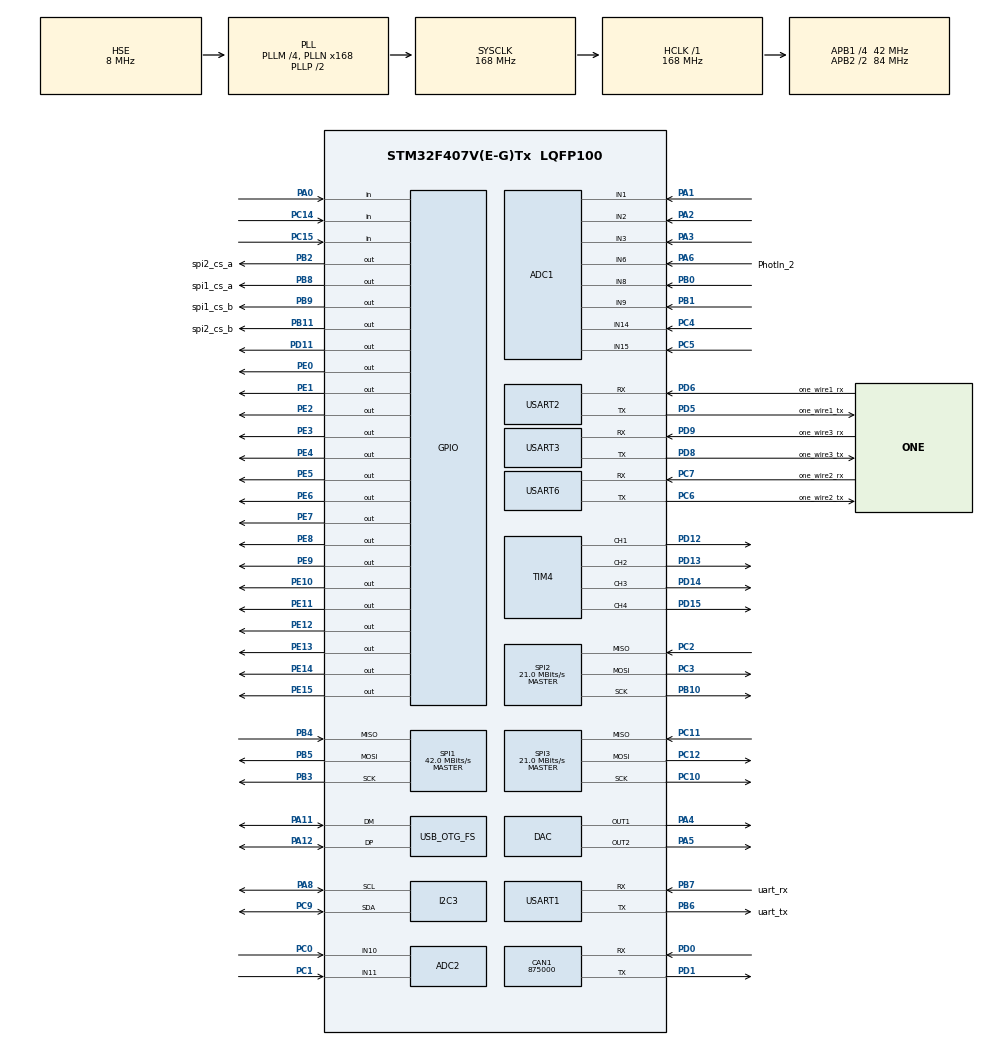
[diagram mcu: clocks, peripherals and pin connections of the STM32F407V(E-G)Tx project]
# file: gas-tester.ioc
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ADC1.Channel-0\#ChannelRegularConversion=ADC_CHANNEL_3
ADC1.Channel-1\#ChannelRegularConversion=ADC_CHANNEL_6
ADC1.Channel-2\#ChannelRegularConversion=ADC_CHANNEL_TEMPSENSOR
ADC1.Channel-3\#ChannelRegularConversion=ADC_CHANNEL_VREFINT
ADC1.Channel-4\#ChannelRegularConversion=ADC_CHANNEL_VBAT
ADC1.ContinuousConvMode=ENABLE
ADC1.DMAContinuousRequests=DISABLE
ADC1.InjNumberOfConversion=0
ADC1.NbrOfConversion=5
ADC1.NbrOfConversionFlag=1
ADC1.Rank-0\#ChannelRegularConversion=1
ADC1.Rank-1\#ChannelRegularConversion=2
ADC1.Rank-2\#ChannelRegularConversion=3
ADC1.Rank-3\#ChannelRegularConversion=4
ADC1.Rank-4\#ChannelRegularConversion=5
ADC1.SamplingTime-0\#ChannelRegularConversion=ADC_SAMPLETIME_480CYCLES
ADC1.SamplingTime-1\#ChannelRegularConversion=ADC_SAMPLETIME_480CYCLES
ADC1.SamplingTime-2\#ChannelRegularConversion=ADC_SAMPLETIME_480CYCLES
ADC1.SamplingTime-3\#ChannelRegularConversion=ADC_SAMPLETIME_480CYCLES
ADC1.SamplingTime-4\#ChannelRegularConversion=ADC_SAMPLETIME_480CYCLES
ADC1.ScanConvMode=ENABLE
ADC1.master=1
ADC2.Channel-1\#ChannelRegularConversion=ADC_CHANNEL_10
ADC2.Channel-2\#ChannelRegularConversion=ADC_CHANNEL_11
ADC2.ClockPrescaler=ADC_CLOCK_SYNC_PCLK_DIV4
ADC2.ContinuousConvMode=DISABLE
ADC2.DMAContinuousRequests=ENABLE
ADC2.EOCSelection=ADC_EOC_SEQ_CONV
ADC2.ExternalTrigConv=ADC_EXTERNALTRIGCONV_T8_TRGO
ADC2.NbrOfConversion=2
ADC2.NbrOfConversionFlag=1
ADC2.Rank-1\#ChannelRegularConversion=1
ADC2.Rank-2\#ChannelRegularConversion=2
ADC2.SamplingTime-1\#ChannelRegularConversion=ADC_SAMPLETIME_3CYCLES
ADC2.SamplingTime-2\#ChannelRegularConversion=ADC_SAMPLETIME_3CYCLES
ADC2.ScanConvMode=ENABLE
ARM.CMSIS-DSP.1.17.0.CMSISJjDSP=Source
CAN1.CalculateBaudRate=875000
CAN1.CalculateTimeBit=1142
CAN1.CalculateTimeQuantum=380.95238095238096
DAC.DAC_Trigger=DAC_TRIGGER_T8_TRGO
Dma.ADC2.1.Direction=DMA_PERIPH_TO_MEMORY
Dma.ADC2.1.FIFOMode=DMA_FIFOMODE_DISABLE
Dma.ADC2.1.Instance=DMA2_Stream2
Dma.ADC2.1.MemDataAlignment=DMA_MDATAALIGN_HALFWORD
Dma.ADC2.1.MemInc=DMA_MINC_ENABLE
Dma.ADC2.1.Mode=DMA_CIRCULAR
Dma.ADC2.1.PeriphDataAlignment=DMA_PDATAALIGN_HALFWORD
Dma.ADC2.1.PeriphInc=DMA_PINC_DISABLE
Dma.ADC2.1.Priority=DMA_PRIORITY_LOW
Dma.DAC1.0.Direction=DMA_MEMORY_TO_PERIPH
Dma.DAC1.0.FIFOMode=DMA_FIFOMODE_DISABLE
Dma.DAC1.0.Instance=DMA1_Stream5
Dma.DAC1.0.MemDataAlignment=DMA_MDATAALIGN_HALFWORD
Dma.DAC1.0.MemInc=DMA_MINC_ENABLE
Dma.DAC1.0.Mode=DMA_CIRCULAR
Dma.DAC1.0.PeriphDataAlignment=DMA_PDATAALIGN_HALFWORD
Dma.DAC1.0.PeriphInc=DMA_PINC_DISABLE
Dma.DAC1.0.Priority=DMA_PRIORITY_LOW
Dma.Request0=DAC1
Dma.Request1=ADC2
Dma.Request2=TIM8_CH4/TRIG/COM
Dma.TIM8_CH4/TRIG/COM.2.Direction=DMA_PERIPH_TO_MEMORY
Dma.TIM8_CH4/TRIG/COM.2.FIFOMode=DMA_FIFOMODE_DISABLE
Dma.TIM8_CH4/TRIG/COM.2.Instance=DMA2_Stream7
Dma.TIM8_CH4/TRIG/COM.2.MemDataAlignment=DMA_MDATAALIGN_HALFWORD
Dma.TIM8_CH4/TRIG/COM.2.MemInc=DMA_MINC_ENABLE
Dma.TIM8_CH4/TRIG/COM.2.Mode=DMA_NORMAL
Dma.TIM8_CH4/TRIG/COM.2.PeriphDataAlignment=DMA_PDATAALIGN_HALFWORD
Dma.TIM8_CH4/TRIG/COM.2.PeriphInc=DMA_PINC_DISABLE
Dma.TIM8_CH4/TRIG/COM.2.Priority=DMA_PRIORITY_LOW
Mcu.Family=STM32F4
Mcu.Name=STM32F407V(E-G)Tx
Mcu.Package=LQFP100
NVIC.DMA1_Stream5_IRQn=true\:0\:0\:false\:false\:true\:false\:true\:true
NVIC.DMA2_Stream2_IRQn=true\:0\:0\:false\:false\:true\:false\:true\:true
NVIC.DMA2_Stream7_IRQn=true\:0\:0\:false\:false\:true\:false\:true\:true
NVIC.OTG_FS_IRQn=true\:0\:0\:false\:false\:true\:true\:true\:true
NVIC.PriorityGroup=NVIC_PRIORITYGROUP_4
NVIC.TIM8_UP_TIM13_IRQn=true\:0\:0\:false\:false\:true\:true\:true\:true
PA0-WKUP.Signal=GPIO_Input
PA1.Signal=ADCx_IN1
PA11.Mode=Device_Only
PA11.Signal=USB_OTG_FS_DM
PA12.Mode=Device_Only
PA12.Signal=USB_OTG_FS_DP
PA13.Mode=Serial_Wire
PA13.Signal=SYS_JTMS-SWDIO
PA14.Mode=Serial_Wire
PA14.Signal=SYS_JTCK-SWCLK
PA2.Signal=ADCx_IN2
PA3.Signal=ADCx_IN3
PA4.Signal=COMP_DAC1_group
PA5.Signal=COMP_DAC2_group
PA6.GPIO_Label=PhotIn_2
PA6.Signal=ADCx_IN6
PA8.Mode=I2C
PA8.Signal=I2C3_SCL
PB0.Signal=ADCx_IN8
PB1.Signal=ADCx_IN9
PB10.Mode=Full_Duplex_Master
PB10.Signal=SPI2_SCK
PB11.GPIO_Label=spi2_cs_b
PB11.Signal=GPIO_Output
PB2.GPIO_Label=spi2_cs_a
PB2.Signal=GPIO_Output
PB3.Mode=Full_Duplex_Master
PB3.Signal=SPI1_SCK
PB4.Mode=Full_Duplex_Master
PB4.Signal=SPI1_MISO
PB5.Mode=Full_Duplex_Master
PB5.Signal=SPI1_MOSI
PB6.GPIO_Label=uart_tx
PB6.Mode=Asynchronous
PB6.Signal=USART1_TX
PB7.GPIO_Label=uart_rx
PB7.Mode=Asynchronous
PB7.Signal=USART1_RX
PB8.GPIO_Label=spi1_cs_a
PB8.Signal=GPIO_Output
PB9.GPIO_Label=spi1_cs_b
PB9.Signal=GPIO_Output
PC0.Signal=ADCx_IN10
PC1.Signal=ADCx_IN11
PC10.Mode=Full_Duplex_Master
PC10.Signal=SPI3_SCK
PC11.Mode=Full_Duplex_Master
PC11.Signal=SPI3_MISO
PC12.Mode=Full_Duplex_Master
PC12.Signal=SPI3_MOSI
PC14-OSC32_IN.Signal=GPIO_Input
PC15-OSC32_OUT.Signal=GPIO_Input
PC2.Mode=Full_Duplex_Master
PC2.Signal=SPI2_MISO
PC3.Mode=Full_Duplex_Master
PC3.Signal=SPI2_MOSI
PC4.Signal=ADCx_IN14
PC5.Signal=ADCx_IN15
PC6.GPIO_Label=one_wire2_tx
PC6.Mode=Asynchronous
PC6.Signal=USART6_TX
PC7.GPIO_Label=one_wire2_rx
PC7.Mode=Asynchronous
PC7.Signal=USART6_RX
PC9.Mode=I2C
PC9.Signal=I2C3_SDA
PD0.Mode=CAN_Activate
PD0.Signal=CAN1_RX
PD1.Mode=CAN_Activate
PD1.Signal=CAN1_TX
PD11.Signal=GPIO_Output
PD12.Signal=S_TIM4_CH1
PD13.Signal=S_TIM4_CH2
PD14.Signal=S_TIM4_CH3
PD15.Signal=S_TIM4_CH4
PD5.GPIO_Label=one_wire1_tx
PD5.Mode=Asynchronous
PD5.Signal=USART2_TX
PD6.GPIO_Label=one_wire1_rx
PD6.Mode=Asynchronous
PD6.Signal=USART2_RX
PD8.GPIO_Label=one_wire3_tx
PD8.Mode=Asynchronous
PD8.Signal=USART3_TX
PD9.GPIO_Label=one_wire3_rx
PD9.Mode=Asynchronous
PD9.Signal=USART3_RX
PE0.Signal=GPIO_Output
PE1.Signal=GPIO_Output
PE10.Signal=GPIO_Output
PE11.Signal=GPIO_Output
PE12.Signal=GPIO_Output
PE13.Signal=GPIO_Output
PE14.Signal=GPIO_Output
PE15.Signal=GPIO_Output
PE2.Signal=GPIO_Output
PE3.Signal=GPIO_Output
PE4.Signal=GPIO_Output
PE5.Signal=GPIO_Output
PE6.Signal=GPIO_Output
PE7.Signal=GPIO_Output
PE8.Signal=GPIO_Output
PE9.Signal=GPIO_Output
PH0-OSC_IN.Mode=HSE-External-Oscillator
PH0-OSC_IN.Signal=RCC_OSC_IN
PH1-OSC_OUT.Mode=HSE-External-Oscillator
PH1-OSC_OUT.Signal=RCC_OSC_OUT
ProjectManager.HeapSize=0x1000
ProjectManager.StackSize=0x2000
ProjectManager.TargetToolchain=STM32CubeIDE
RCC.48MHZClocksFreq_Value=48000000
RCC.AHBFreq_Value=168000000
RCC.APB1CLKDivider=RCC_HCLK_DIV4
RCC.APB1Freq_Value=42000000
RCC.APB1TimFreq_Value=84000000
RCC.APB2CLKDivider=RCC_HCLK_DIV2
RCC.APB2Freq_Value=84000000
RCC.APB2TimFreq_Value=168000000
RCC.CortexFreq_Value=168000000
RCC.HCLKFreq_Value=168000000
RCC.HSE_VALUE=8000000
RCC.HSI_VALUE=16000000
RCC.LSE_VALUE=32768
RCC.PLLM=4
RCC.PLLN=168
RCC.PLLQ=7
RCC.SYSCLKFreq_VALUE=168000000
RCC.SYSCLKSource=RCC_SYSCLKSOURCE_PLLCLK
RCC.VCOOutputFreq_Value=336000000
SH.ADCx_IN1.0=ADC1_IN1,IN1
SH.ADCx_IN10.0=ADC2_IN10,IN10
SH.ADCx_IN11.0=ADC2_IN11,IN11
SH.ADCx_IN14.0=ADC1_IN14,IN14
SH.ADCx_IN15.0=ADC1_IN15,IN15
SH.ADCx_IN2.0=ADC1_IN2,IN2
SH.ADCx_IN3.0=ADC1_IN3,IN3
SH.ADCx_IN6.0=ADC1_IN6,IN6
SH.ADCx_IN8.0=ADC1_IN8,IN8
SH.ADCx_IN9.0=ADC1_IN9,IN9
SH.COMP_DAC1_group.0=DAC_OUT1,DAC_OUT1
SH.COMP_DAC2_group.0=DAC_OUT2,DAC_OUT2
SH.S_TIM4_CH1.0=TIM4_CH1,PWM Generation1 CH1
SH.S_TIM4_CH2.0=TIM4_CH2,PWM Generation2 CH2
SH.S_TIM4_CH3.0=TIM4_CH3,PWM Generation3 CH3
SH.S_TIM4_CH4.0=TIM4_CH4,PWM Generation4 CH4
SPI1.CalculateBaudRate=42.0 MBits/s
SPI1.Direction=SPI_DIRECTION_2LINES
SPI1.Mode=SPI_MODE_MASTER
SPI1.VirtualType=VM_MASTER
SPI2.CalculateBaudRate=21.0 MBits/s
SPI2.Direction=SPI_DIRECTION_2LINES
SPI2.Mode=SPI_MODE_MASTER
SPI2.VirtualType=VM_MASTER
SPI3.CalculateBaudRate=21.0 MBits/s
SPI3.Direction=SPI_DIRECTION_2LINES
SPI3.Mode=SPI_MODE_MASTER
SPI3.VirtualType=VM_MASTER
TIM4.Channel-PWM\ Generation1\ CH1=TIM_CHANNEL_1
TIM4.Channel-PWM\ Generation2\ CH2=TIM_CHANNEL_2
TIM4.Channel-PWM\ Generation3\ CH3=TIM_CHANNEL_3
TIM4.Channel-PWM\ Generation4\ CH4=TIM_CHANNEL_4
TIM8.AutoReloadPreload=TIM_AUTORELOAD_PRELOAD_DISABLE
TIM8.Period=65535
TIM8.Prescaler=1
TIM8.TIM_MasterOutputTrigger=TIM_TRGO_UPDATE
USART1.VirtualMode=VM_ASYNC
USART2.VirtualMode=VM_ASYNC
USART3.VirtualMode=VM_ASYNC
USART6.VirtualMode=VM_ASYNC
USB_OTG_FS.VirtualMode=Device_Only
VP_ADC1_TempSens_Input.Mode=IN-TempSens
VP_ADC1_Vbat_Input.Mode=IN-Vbat
VP_ADC1_Vref_Input.Mode=IN-Vrefint
VP_ARM.CMSIS-DSP_VS_CMSISJjDSP_1.17.0_1.17.0.Mode=CMSISJjDSP
VP_TIM8_VS_ClockSourceINT.Mode=Internal
board=custom

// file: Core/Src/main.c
/* USER CODE BEGIN Header */
/**
  ******************************************************************************
  * @file           : main.c
  * @brief          : Main program body
  ******************************************************************************
  * @attention
  *
  * Copyright (c) 2026 STMicroelectronics.
  * All rights reserved.
  *
  * This software is licensed under terms that can be found in the LICENSE file
  * in the root directory of this software component.
  * If no LICENSE file comes with this software, it is provided AS-IS.
  *
  ******************************************************************************
  */
/* USER CODE END Header */
#include "main.h"
#include "adc.h"
#include "can.h"
#include "dac.h"
#include "dma.h"
#include "i2c.h"
#include "spi.h"
#include "tim.h"
#include "usart.h"
#include "usb_otg.h"
#include "gpio.h"

/* USER CODE BEGIN Includes */
#include "tusb.h"
#include <ctype.h>
/* USER CODE END Includes */

/* USER CODE BEGIN PTD */
void cdc_task(void);
/* USER CODE END PTD */

/* USER CODE BEGIN PV */
int _write(int fd, char *ptr, int len) {
    HAL_StatusTypeDef hstatus;

    if (fd == 1 || fd == 2) {
        //hstatus = HAL_UART_Transmit(&huart1, (uint8_t*) ptr, len, HAL_MAX_DELAY);
        //hstatus = CDC_Transmit_FS((uint8_t*) ptr, len);
        if (hstatus == HAL_OK)
            return len;
        else
            return -1;
    }
    return -1;
}
/* USER CODE END PV */

void SystemClock_Config(void);

int main(void)
{

  /* MCU Configuration--------------------------------------------------------*/

  /* Reset of all peripherals, Initializes the Flash interface and the Systick. */
  HAL_Init();

  /* USER CODE BEGIN Init */
  init();
  /* USER CODE END Init */

  /* Configure the system clock */
  SystemClock_Config();

  /* Initialize all configured peripherals */
  MX_GPIO_Init();
  MX_DMA_Init();
  MX_DAC_Init();
  MX_ADC1_Init();
  MX_ADC2_Init();
  MX_CAN1_Init();
  MX_I2C3_Init();
  MX_SPI1_Init();
  MX_SPI2_Init();
  MX_SPI3_Init();
  MX_TIM4_Init();
  MX_USART1_UART_Init();
  MX_USART2_UART_Init();
  MX_USART3_UART_Init();
  MX_USART6_UART_Init();
  MX_TIM8_Init();
  MX_USB_OTG_FS_PCD_Init();
  /* USER CODE BEGIN 2 */
  tud_init(BOARD_TUD_RHPORT);
  setup();
  /* USER CODE END 2 */

  /* Infinite loop */
  /* USER CODE BEGIN WHILE */
  while (1)
  {
	  tud_task();
	  //tud_cdc_write_flush();
	  cdc_task();
	  loop();
    /* USER CODE END WHILE */

  }
}

void SystemClock_Config(void)
{
  RCC_OscInitTypeDef RCC_OscInitStruct = {0};
  RCC_ClkInitTypeDef RCC_ClkInitStruct = {0};

  /** Configure the main internal regulator output voltage
  */
  __HAL_RCC_PWR_CLK_ENABLE();
  __HAL_PWR_VOLTAGESCALING_CONFIG(PWR_REGULATOR_VOLTAGE_SCALE1);

  /** Initializes the RCC Oscillators according to the specified parameters
  * in the RCC_OscInitTypeDef structure.
  */
  RCC_OscInitStruct.OscillatorType = RCC_OSCILLATORTYPE_HSE;
  RCC_OscInitStruct.HSEState = RCC_HSE_ON;
  RCC_OscInitStruct.PLL.PLLState = RCC_PLL_ON;
  RCC_OscInitStruct.PLL.PLLSource = RCC_PLLSOURCE_HSE;
  RCC_OscInitStruct.PLL.PLLM = 4;
  RCC_OscInitStruct.PLL.PLLN = 168;
  RCC_OscInitStruct.PLL.PLLP = RCC_PLLP_DIV2;
  RCC_OscInitStruct.PLL.PLLQ = 7;
  if (HAL_RCC_OscConfig(&RCC_OscInitStruct) != HAL_OK)
  {
    Error_Handler();
  }

  /** Initializes the CPU, AHB and APB buses clocks
  */
  RCC_ClkInitStruct.ClockType = RCC_CLOCKTYPE_HCLK|RCC_CLOCKTYPE_SYSCLK
                              |RCC_CLOCKTYPE_PCLK1|RCC_CLOCKTYPE_PCLK2;
  RCC_ClkInitStruct.SYSCLKSource = RCC_SYSCLKSOURCE_PLLCLK;
  RCC_ClkInitStruct.AHBCLKDivider = RCC_SYSCLK_DIV1;
  RCC_ClkInitStruct.APB1CLKDivider = RCC_HCLK_DIV4;
  RCC_ClkInitStruct.APB2CLKDivider = RCC_HCLK_DIV2;

  if (HAL_RCC_ClockConfig(&RCC_ClkInitStruct, FLASH_LATENCY_5) != HAL_OK)
  {
    Error_Handler();
  }
}

/* USER CODE BEGIN 4 */
//--------------------------------------------------------------------+
// Device callbacks
//--------------------------------------------------------------------+

// Invoked when device is mounted
void tud_mount_cb(void) {
}

// Invoked when device is unmounted
void tud_umount_cb(void) {
}

// Invoked when usb bus is suspended
// remote_wakeup_en : if host allow us  to perform remote wakeup
// Within 7ms, device must draw an average of current less than 2.5 mA from bus
void tud_suspend_cb(bool remote_wakeup_en) {
  (void)remote_wakeup_en;
}

// Invoked when usb bus is resumed
void tud_resume_cb(void) {
//  blink_interval_ms = tud_mounted() ? BLINK_MOUNTED : BLINK_NOT_MOUNTED;
}

//--------------------------------------------------------------------+
// USB CDC
//--------------------------------------------------------------------+
void cdc_task(void) {
  // connected() check for DTR bit
  // Most but not all terminal client set this when making connection
  // if ( tud_cdc_connected() )
  {
    // connected and there are data available
    if (tud_cdc_available()) {
      // read data
      char     buf[64];
      uint32_t count = tud_cdc_read(buf, sizeof(buf));
      (void)count;

      // Echo back
      // Note: Skip echo by commenting out write() and write_flush()
      // for throughput test e.g
      //    $ dd if=/dev/zero of=/dev/ttyACM0 count=10000
      tud_cdc_write(buf, count);
      tud_cdc_write_flush();
    }

    // Press on-board button to send Uart status notification
    static cdc_notify_uart_state_t uart_state = {.value = 0};

    static uint32_t btn_prev = 0;
    const uint32_t  btn      = 0;//board_button_read();

    if ((btn_prev == 0u) && (btn != 0u)) {
      uart_state.dsr ^= 1;
      uart_state.dcd ^= 1;
      //tud_cdc_notify_uart_state(&uart_state);
    }
    btn_prev = btn;
  }
}

// Invoked when cdc when line state changed e.g connected/disconnected
void tud_cdc_line_state_cb(uint8_t itf, bool dtr, bool rts) {
  (void)itf;
  (void)rts;

  if (dtr) {
    // Terminal connected
  } else {
    // Terminal disconnected
  }
}

// Invoked when CDC interface received data from host
void tud_cdc_rx_cb(uint8_t itf) {
  (void)itf;
}

size_t board_get_unique_id(uint8_t id[], size_t max_len) {
  (void) max_len;
  volatile uint32_t *stm32_uuid = (volatile uint32_t *) UID_BASE;
  uint32_t *id32 = (uint32_t *) (uintptr_t) id;
  uint8_t const len = 12;

  id32[0] = stm32_uuid[0];
  id32[1] = stm32_uuid[1];
  id32[2] = stm32_uuid[2];

  return len;
}

/* USER CODE END 4 */

void Error_Handler(void)
{
  __disable_irq();
  while (1)
  {
  }
}
